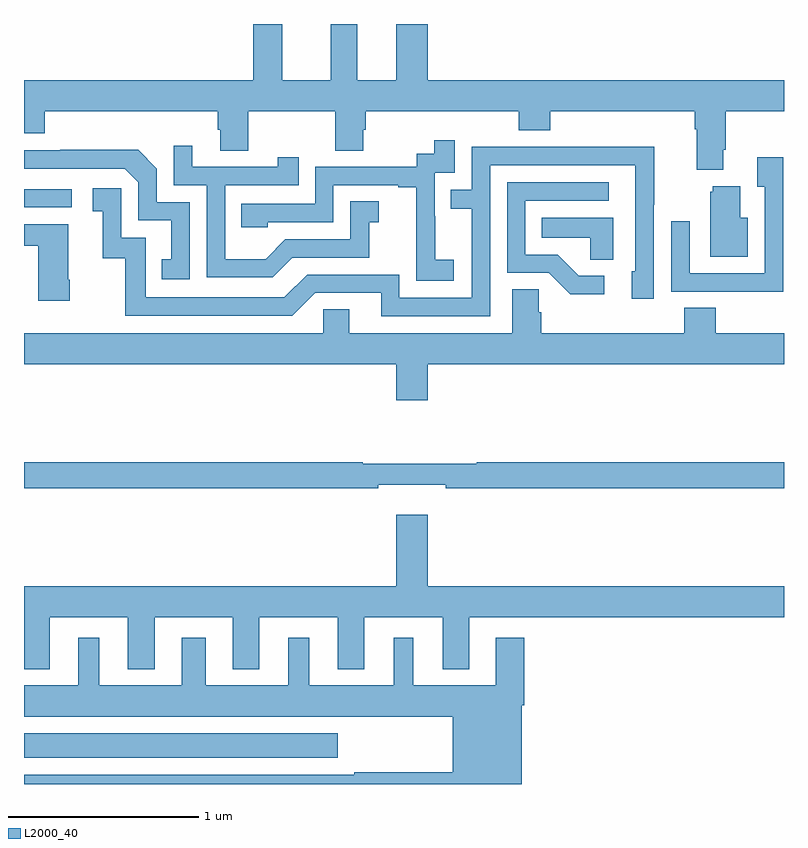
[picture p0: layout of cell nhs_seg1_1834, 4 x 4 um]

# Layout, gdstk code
import gdstk
lib = gdstk.Library(unit=1e-6, precision=1e-09)
def R(c, l, rs):  # rectangles x0, y0, x1, y1
    for r in rs: c.add(gdstk.rectangle(r[:2], r[2:], *l))
def P(c, l, *ps):  # polygons
    for p in ps: c.add(gdstk.Polygon(p, *l))
L2000_40 = (2000, 40)

nhs_seg1_1834 = lib.new_cell('nhs_seg1_1834')
R(nhs_seg1_1834, L2000_40, [(211,540.338,212.65,540.466), (211,543.234,211.252,543.33)])
P(nhs_seg1_1834, L2000_40, [(214.681,543.538),(214.694,543.538),(214.694,543.74),(215,543.74),(215,543.904),(213.124,543.904),(213.124,544.199),(212.96,544.199),(212.96,543.904),(212.755,543.904),(212.755,544.199),(212.615,544.199),(212.615,543.904),(212.359,543.904),(212.359,544.199),(212.207,544.199),(212.207,543.904),(211,543.904),(211,543.623),(211.109,543.623),(211.109,543.74),(212.021,543.74),(212.021,543.642),(212.033,543.642),(212.033,543.532),(212.181,543.532),(212.181,543.74),(212.638,543.74),(212.638,543.532),(212.785,543.532),(212.785,543.642),(212.798,543.642),(212.798,543.74),(213.605,543.74),(213.605,543.641),(213.77,543.641),(213.77,543.74),(214.529,543.74),(214.529,543.644),(214.541,543.644),(214.541,543.431),(214.681,543.431)],
  [(213.262,542.959),(213.164,542.959),(213.164,543.188),(213.162,543.188),(213.162,543.417),(213.267,543.417),(213.267,543.586),(213.159,543.586),(213.159,543.516),(213.066,543.516),(213.066,543.447),(212.532,543.447),(212.532,543.252),(212.143,543.252),(212.143,543.129),(212.283,543.129),(212.283,543.156),(212.628,543.156),(212.628,543.351),(212.969,543.351),(212.969,543.339),(213.065,543.339),(213.065,543.055),(213.064,543.055),(213.064,542.849),(213.262,542.849)],
  [(212.413,542.97),(212.817,542.97),(212.817,543.155),(212.866,543.155),(212.866,543.265),(212.718,543.265),(212.718,543.066),(212.376,543.066),(212.272,542.962),(212.058,542.962),(212.058,543.351),(212.447,543.351),(212.447,543.499),(212.336,543.499),(212.336,543.447),(211.885,543.447),(211.885,543.559),(211.788,543.559),(211.788,543.351),(211.962,543.351),(211.962,542.865),(212.308,542.865)],
  [(213.453,543.456),(214.218,543.456),(214.218,542.898),(214.199,542.898),(214.199,542.754),(214.314,542.754),(214.314,543.247),(214.317,543.247),(214.317,543.554),(213.853,543.554),(213.853,543.552),(213.357,543.552),(213.357,543.327),(213.247,543.327),(213.247,543.226),(213.357,543.226),(213.357,542.757),(212.976,542.757),(212.976,542.88),(212.49,542.88),(212.37,542.76),(211.641,542.76),(211.641,543.075),(211.512,543.075),(211.512,543.334),(211.362,543.334),(211.362,543.213),(211.415,543.213),(211.415,542.967),(211.533,542.967),(211.533,542.664),(212.412,542.664),(212.532,542.784),(212.879,542.784),(212.879,542.661),(213.453,542.661)],
  [(211.872,543.261),(211.698,543.261),(211.698,543.438),(211.6,543.536),(211.192,543.536),(211.192,543.534),(211,543.534),(211,543.438),(211.53,543.438),(211.602,543.366),(211.602,543.165),(211.775,543.165),(211.775,542.961),(211.726,542.961),(211.726,542.856),(211.872,542.856)],
  [(214.995,543.499),(214.859,543.499),(214.859,543.343),(214.899,543.343),(214.899,542.886),(214.503,542.886),(214.503,543.16),(214.407,543.16),(214.407,542.79),(214.723,542.79),(214.723,542.789),(214.995,542.789)],
  [(214.054,542.874),(213.919,542.874),(213.808,542.985),(213.639,542.985),(213.639,543.27),(214.078,543.27),(214.078,543.366),(213.543,543.366),(213.543,542.889),(213.762,542.889),(213.875,542.777),(214.054,542.777)],
  [(214.81,543.178),(214.771,543.178),(214.771,543.346),(214.625,543.346),(214.625,543.315),(214.613,543.315),(214.613,542.975),(214.81,542.975)],
  [(214.102,543.178),(213.724,543.178),(213.724,543.074),(213.981,543.074),(213.981,542.959),(214.102,542.959)],
  [(211.242,542.854),(211.234,542.854),(211.234,543.145),(211,543.145),(211,543.031),(211.076,543.031),(211.076,542.742),(211.242,542.742)],
  [(213.124,542.408),(215,542.408),(215,542.572),(214.64,542.572),(214.64,542.705),(214.475,542.705),(214.475,542.572),(213.722,542.572),(213.722,542.681),(213.708,542.681),(213.708,542.804),(213.569,542.804),(213.569,542.572),(212.713,542.572),(212.713,542.699),(212.574,542.699),(212.574,542.572),(211,542.572),(211,542.408),(212.96,542.408),(212.96,542.22),(213.124,542.22)],
  [(212.864,541.775),(213.22,541.775),(213.22,541.756),(215,541.756),(215,541.892),(213.382,541.892),(213.382,541.885),(212.782,541.885),(212.782,541.892),(211,541.892),(211,541.756),(212.864,541.756)],
  [(211,540.803),(211.135,540.803),(211.135,541.076),(211.547,541.076),(211.547,540.803),(211.687,540.803),(211.687,541.076),(212.099,541.076),(212.099,540.803),(212.239,540.803),(212.239,541.076),(212.651,541.076),(212.651,540.803),(212.791,540.803),(212.791,541.076),(213.203,541.076),(213.203,540.803),(213.343,540.803),(213.343,541.076),(215,541.076),(215,541.24),(213.124,541.24),(213.124,541.615),(212.96,541.615),(212.96,541.24),(211,541.24)],
  [(213.619,540.614),(213.632,540.614),(213.632,540.97),(213.482,540.97),(213.482,540.718),(213.049,540.718),(213.049,540.97),(212.945,540.97),(212.945,540.718),(212.5,540.718),(212.5,540.97),(212.39,540.97),(212.39,540.718),(211.957,540.718),(211.957,540.97),(211.829,540.97),(211.829,540.718),(211.396,540.718),(211.396,540.97),(211.286,540.97),(211.286,540.718),(211,540.718),(211,540.554),(213.257,540.554),(213.257,540.262),(212.737,540.262),(212.737,540.249),(211,540.249),(211,540.199),(213.619,540.199)])

lib.write_gds('nhs_seg1_1834.gds')
